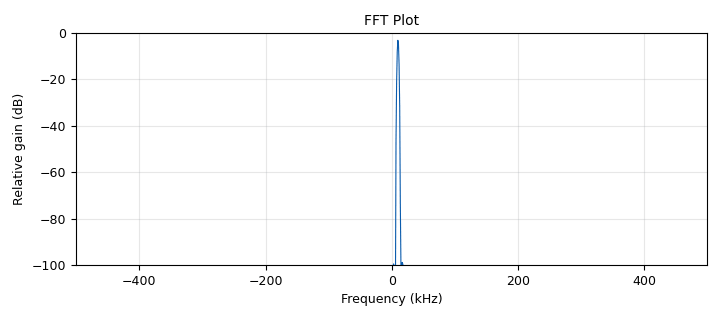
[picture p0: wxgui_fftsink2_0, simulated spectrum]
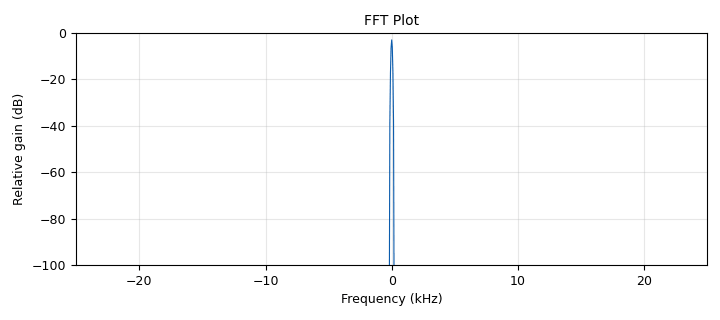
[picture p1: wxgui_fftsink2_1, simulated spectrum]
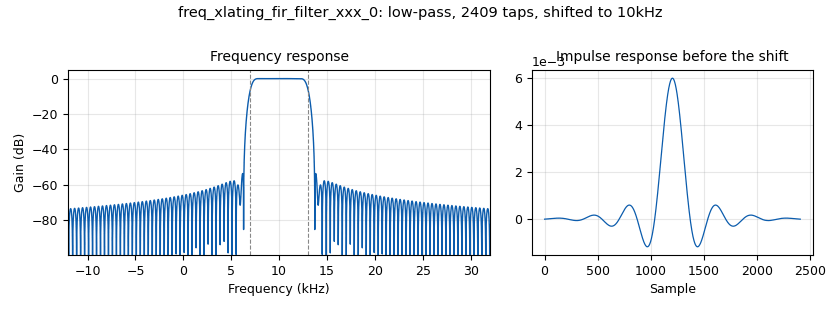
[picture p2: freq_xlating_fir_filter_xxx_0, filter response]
<?xml version='1.0' encoding='utf-8'?>
<?grc format='1' created='3.7.10'?>
<flow_graph>
<block>
<key>options</key>
<param><key>id</key><value>top_block</value></param>
<param><key>category</key><value>Custom</value></param>
<param><key>generate_options</key><value>wx_gui</value></param>
</block>
<block>
<key>variable</key>
<param><key>id</key><value>bb_rate</value></param>
<param><key>value</key><value>50e3</value></param>
</block>
<block>
<key>variable</key>
<param><key>id</key><value>decimation</value></param>
<param><key>value</key><value>int(samp_rate / bb_rate)</value></param>
</block>
<block>
<key>variable_slider</key>
<param><key>id</key><value>noise_amp</value></param>
<param><key>converver</key><value>float_converter</value></param>
<param><key>value</key><value>0</value></param>
<param><key>label</key><value></value></param>
<param><key>max</key><value>1</value></param>
<param><key>min</key><value>0</value></param>
<param><key>num_steps</key><value>10</value></param>
<param><key>style</key><value>wx.SL_HORIZONTAL</value></param>
</block>
<block>
<key>variable</key>
<param><key>id</key><value>samp_rate</value></param>
<param><key>value</key><value>1e6</value></param>
</block>
<block>
<key>variable_slider</key>
<param><key>id</key><value>sine</value></param>
<param><key>converver</key><value>float_converter</value></param>
<param><key>value</key><value>10e3</value></param>
<param><key>label</key><value></value></param>
<param><key>max</key><value>100e3</value></param>
<param><key>min</key><value>0</value></param>
<param><key>num_steps</key><value>1000</value></param>
<param><key>style</key><value>wx.SL_HORIZONTAL</value></param>
</block>
<block>
<key>variable</key>
<param><key>id</key><value>taps</value></param>
<param><key>value</key><value>firdes.low_pass(1.0, samp_rate, xlate_bw/2, 1000)</value></param>
</block>
<block>
<key>variable_slider</key>
<param><key>id</key><value>xlate_bw</value></param>
<param><key>converver</key><value>float_converter</value></param>
<param><key>value</key><value>6e3</value></param>
<param><key>label</key><value></value></param>
<param><key>max</key><value>bb_rate</value></param>
<param><key>min</key><value>0</value></param>
<param><key>num_steps</key><value>1000</value></param>
<param><key>style</key><value>wx.SL_HORIZONTAL</value></param>
</block>
<block>
<key>variable_slider</key>
<param><key>id</key><value>xlate_freq</value></param>
<param><key>converver</key><value>float_converter</value></param>
<param><key>value</key><value>10e3</value></param>
<param><key>label</key><value></value></param>
<param><key>max</key><value>samp_rate/2</value></param>
<param><key>min</key><value>-samp_rate/2</value></param>
<param><key>num_steps</key><value>1000</value></param>
<param><key>style</key><value>wx.SL_HORIZONTAL</value></param>
</block>
<block>
<key>analog_noise_source_x</key>
<param><key>id</key><value>analog_noise_source_x_0</value></param>
<param><key>amp</key><value>noise_amp</value></param>
<param><key>noise_type</key><value>analog.GR_GAUSSIAN</value></param>
<param><key>type</key><value>complex</value></param>
<param><key>seed</key><value>0</value></param>
</block>
<block>
<key>analog_sig_source_x</key>
<param><key>id</key><value>analog_sig_source_x_0</value></param>
<param><key>amp</key><value>1</value></param>
<param><key>freq</key><value>sine</value></param>
<param><key>offset</key><value>0</value></param>
<param><key>type</key><value>complex</value></param>
<param><key>samp_rate</key><value>samp_rate</value></param>
<param><key>waveform</key><value>analog.GR_COS_WAVE</value></param>
</block>
<block>
<key>blocks_add_xx</key>
<param><key>id</key><value>blocks_add_xx_0</value></param>
<param><key>type</key><value>complex</value></param>
</block>
<block>
<key>blocks_throttle</key>
<param><key>id</key><value>blocks_throttle_0</value></param>
<param><key>samples_per_second</key><value>samp_rate</value></param>
<param><key>type</key><value>complex</value></param>
</block>
<block>
<key>freq_xlating_fir_filter_xxx</key>
<param><key>id</key><value>freq_xlating_fir_filter_xxx_0</value></param>
<param><key>center_freq</key><value>xlate_freq</value></param>
<param><key>decim</key><value>decimation</value></param>
<param><key>samp_rate</key><value>samp_rate</value></param>
<param><key>taps</key><value>taps</value></param>
<param><key>type</key><value>ccc</value></param>
</block>
<block>
<key>wxgui_fftsink2</key>
<param><key>id</key><value>wxgui_fftsink2_0</value></param>
<param><key>avg_alpha</key><value>0</value></param>
<param><key>average</key><value>False</value></param>
<param><key>baseband_freq</key><value>0</value></param>
<param><key>fft_size</key><value>1024</value></param>
<param><key>freqvar</key><value>None</value></param>
<param><key>peak_hold</key><value>False</value></param>
<param><key>ref_level</key><value>0</value></param>
<param><key>ref_scale</key><value>2.0</value></param>
<param><key>fft_rate</key><value>15</value></param>
<param><key>samp_rate</key><value>samp_rate</value></param>
<param><key>title</key><value>FFT Plot</value></param>
<param><key>type</key><value>complex</value></param>
<param><key>win</key><value>None</value></param>
<param><key>y_divs</key><value>10</value></param>
<param><key>y_per_div</key><value>10</value></param>
</block>
<block>
<key>wxgui_fftsink2</key>
<param><key>id</key><value>wxgui_fftsink2_1</value></param>
<param><key>avg_alpha</key><value>0</value></param>
<param><key>average</key><value>False</value></param>
<param><key>baseband_freq</key><value>0</value></param>
<param><key>fft_size</key><value>1024</value></param>
<param><key>freqvar</key><value>None</value></param>
<param><key>peak_hold</key><value>False</value></param>
<param><key>ref_level</key><value>0</value></param>
<param><key>ref_scale</key><value>2.0</value></param>
<param><key>fft_rate</key><value>15</value></param>
<param><key>samp_rate</key><value>bb_rate</value></param>
<param><key>title</key><value>FFT Plot</value></param>
<param><key>type</key><value>complex</value></param>
<param><key>win</key><value>None</value></param>
<param><key>y_divs</key><value>10</value></param>
<param><key>y_per_div</key><value>10</value></param>
</block>
<connection><source_block_id>analog_noise_source_x_0</source_block_id><sink_block_id>blocks_add_xx_0</sink_block_id><source_key>0</source_key><sink_key>1</sink_key></connection>
<connection><source_block_id>analog_sig_source_x_0</source_block_id><sink_block_id>blocks_add_xx_0</sink_block_id><source_key>0</source_key><sink_key>0</sink_key></connection>
<connection><source_block_id>blocks_add_xx_0</source_block_id><sink_block_id>blocks_throttle_0</sink_block_id><source_key>0</source_key><sink_key>0</sink_key></connection>
<connection><source_block_id>blocks_throttle_0</source_block_id><sink_block_id>freq_xlating_fir_filter_xxx_0</sink_block_id><source_key>0</source_key><sink_key>0</sink_key></connection>
<connection><source_block_id>blocks_throttle_0</source_block_id><sink_block_id>wxgui_fftsink2_0</sink_block_id><source_key>0</source_key><sink_key>0</sink_key></connection>
<connection><source_block_id>freq_xlating_fir_filter_xxx_0</source_block_id><sink_block_id>wxgui_fftsink2_1</sink_block_id><source_key>0</source_key><sink_key>0</sink_key></connection>
</flow_graph>
